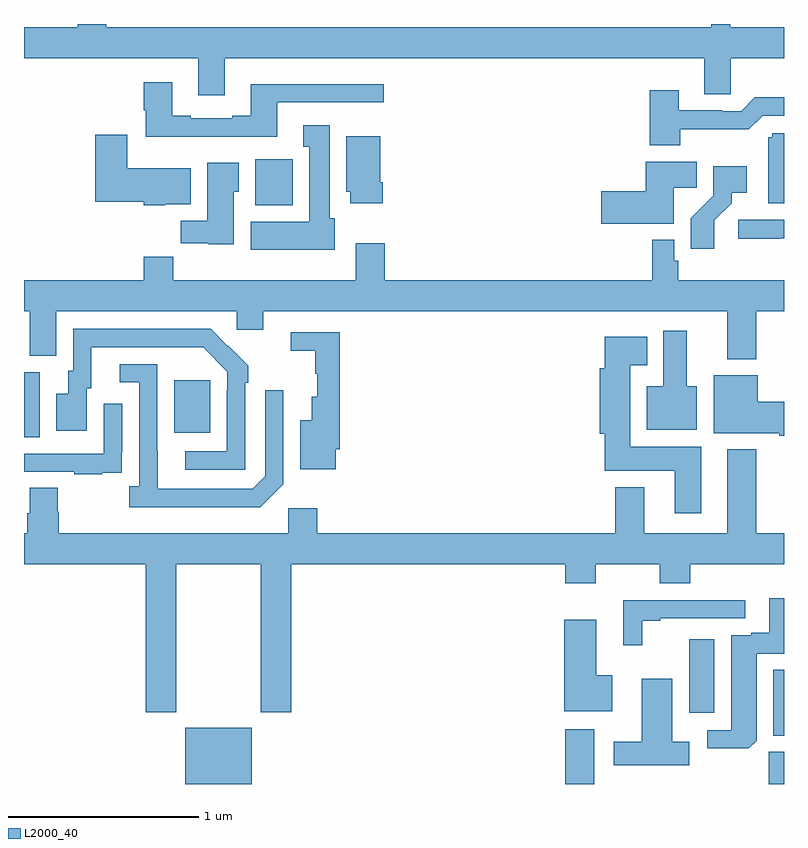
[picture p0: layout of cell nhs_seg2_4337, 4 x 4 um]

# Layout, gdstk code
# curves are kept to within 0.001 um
import gdstk
lib = gdstk.Library(unit=1e-6, precision=1e-09)
def R(c, l, rs):  # rectangles x0, y0, x1, y1
    for r in rs: c.add(gdstk.rectangle(r[:2], r[2:], *l))
def P(c, l, *ps):  # polygons
    for p in ps: c.add(gdstk.Polygon(p, *l))
L2000_40 = (2000, 40)

nhs_seg2_4337 = lib.new_cell('nhs_seg2_4337')
R(nhs_seg2_4337, L2000_40, [(345.848,659.8,346.198,660.097), (347.849,659.8,348.001,660.088), (348.919,659.8,349,659.97), (348.944,660.055,349,660.401), (348.5,660.174,348.634,660.562), (345,661.624,345.082,661.968), (345.791,661.649,345.979,661.924), (346.217,662.846,346.414,663.088)])
P(nhs_seg2_4337, L2000_40, [(348.716,663.8),(348.617,663.8),(348.617,663.784),(345.434,663.784),(345.434,663.8),(345.282,663.8),(345.282,663.784),(345,663.784),(345,663.62),(345.917,663.62),(345.917,663.426),(346.057,663.426),(346.057,663.62),(348.581,663.62),(348.581,663.43),(348.72,663.43),(348.72,663.62),(349,663.62),(349,663.784),(348.716,663.784)],
  [(346.333,663.387),(346.894,663.387),(346.894,663.484),(346.193,663.484),(346.193,663.316),(346.097,663.316),(346.097,663.303),(345.877,663.303),(345.877,663.316),(345.781,663.316),(345.781,663.493),(345.629,663.493),(345.629,663.345),(345.641,663.345),(345.641,663.206),(346.333,663.206)],
  [(348.453,663.246),(348.815,663.245),(348.888,663.318),(349,663.318),(349,663.415),(348.847,663.415),(348.774,663.342),(348.674,663.342),(348.674,663.345),(348.445,663.345),(348.445,663.451),(348.293,663.451),(348.293,663.161),(348.453,663.161)],
  [(346.636,662.778),(346.609,662.778),(346.609,663.268),(346.469,663.268),(346.469,663.155),(346.502,663.155),(346.502,662.758),(346.193,662.758),(346.193,662.612),(346.636,662.612)],
  [(349,663.225),(348.939,663.225),(348.939,663.204),(348.917,663.204),(348.917,662.856),(349,662.856)],
  [(345.744,662.852),(345.877,662.852),(345.877,663.04),(345.544,663.04),(345.544,663.217),(345.374,663.217),(345.374,662.864),(345.63,662.864),(345.63,662.846),(345.744,662.846)],
  [(346.889,662.968),(346.876,662.968),(346.876,663.208),(346.697,663.208),(346.697,662.916),(346.718,662.916),(346.718,662.856),(346.889,662.856)],
  [(348.421,662.938),(348.542,662.938),(348.542,663.076),(348.272,663.076),(348.272,662.921),(348.039,662.921),(348.039,662.75),(348.421,662.75)],
  [(346.105,662.916),(346.129,662.916),(346.129,663.07),(345.965,663.07),(345.965,662.764),(345.826,662.764),(345.826,662.646),(345.969,662.646),(345.969,662.642),(346.105,662.642)],
  [(348.634,662.767),(348.724,662.857),(348.724,662.912),(348.805,662.912),(348.805,663.052),(348.627,663.052),(348.627,662.897),(348.508,662.778),(348.508,662.616),(348.634,662.616)],
  [(348.983,662.673),(349,662.673),(349,662.769),(348.759,662.769),(348.759,662.671),(348.983,662.671)],
  [(348.854,662.288),(349,662.288),(349,662.452),(348.443,662.452),(348.443,662.553),(348.423,662.553),(348.423,662.665),(348.307,662.665),(348.307,662.452),(346.898,662.452),(346.898,662.647),(346.745,662.647),(346.745,662.452),(345.785,662.452),(345.785,662.576),(345.629,662.576),(345.629,662.452),(345,662.452),(345,662.288),(345.029,662.288),(345.029,662.053),(345.169,662.053),(345.169,662.288),(346.119,662.288),(346.119,662.19),(346.258,662.19),(346.258,662.288),(348.701,662.288),(348.701,662.036),(348.854,662.036)],
  [(346.164,661.913),(346.179,661.913),(346.179,662.001),(345.982,662.196),(345.258,662.196),(345.258,661.974),(345.233,661.974),(345.233,661.855),(345.17,661.855),(345.17,661.659),(345.331,661.659),(345.331,661.884),(345.355,661.884),(345.355,662.1),(345.943,662.1),(346.071,661.971),(346.071,661.871),(346.068,661.871),(346.068,661.551),(345.849,661.551),(345.849,661.455),(346.164,661.455)],
  [(348.541,661.894),(348.487,661.894),(348.487,662.185),(348.365,662.185),(348.365,661.894),(348.278,661.894),(348.278,661.664),(348.541,661.664)],
  [(346.642,661.561),(346.661,661.561),(346.661,662.178),(346.404,662.178),(346.404,662.08),(346.533,662.08),(346.533,661.959),(346.544,661.959),(346.544,661.837),(346.514,661.837),(346.514,661.714),(346.454,661.714),(346.454,661.457),(346.642,661.457)],
  [(348.565,661.576),(348.19,661.576),(348.19,662.003),(348.28,662.003),(348.28,662.155),(348.056,662.155),(348.056,661.987),(348.029,661.987),(348.029,661.643),(348.056,661.643),(348.056,661.448),(348.425,661.448),(348.425,661.224),(348.565,661.224)],
  [(346.365,661.377),(346.365,661.873),(346.269,661.873),(346.269,661.419),(346.203,661.353),(345.703,661.353),(345.702,662.01),(345.504,662.01),(345.504,661.914),(345.606,661.914),(345.606,661.366),(345.555,661.366),(345.555,661.256),(346.244,661.256)],
  [(349,661.812),(348.862,661.812),(348.862,661.951),(348.629,661.951),(348.629,661.646),(348.974,661.646),(348.974,661.634),(349,661.634)],
  [(345.413,661.437),(345.515,661.437),(345.515,661.546),(345.516,661.546),(345.516,661.801),(345.42,661.801),(345.42,661.539),(345,661.539),(345,661.443),(345.265,661.443),(345.265,661.431),(345.413,661.431)],
  [(345.801,660.956),(346.246,660.956),(346.246,660.177),(346.406,660.177),(346.406,660.956),(347.849,660.956),(347.849,660.857),(348.009,660.857),(348.009,660.956),(348.346,660.956),(348.346,660.857),(348.506,660.857),(348.506,660.956),(349,660.956),(349,661.12),(348.854,661.12),(348.854,661.561),(348.701,661.561),(348.701,661.12),(348.265,661.12),(348.265,661.363),(348.113,661.363),(348.113,661.12),(346.544,661.12),(346.544,661.252),(346.392,661.252),(346.392,661.12),(345.182,661.12),(345.182,661.233),(345.177,661.233),(345.177,661.358),(345.029,661.358),(345.029,661.226),(345.017,661.226),(345.017,661.12),(345,661.12),(345,660.956),(345.641,660.956),(345.641,660.177),(345.801,660.177)],
  [(348.856,660.028),(348.856,660.486),(349,660.486),(349,660.778),(348.923,660.778),(348.923,660.595),(348.827,660.595),(348.827,660.582),(348.722,660.582),(348.722,660.084),(348.597,660.084),(348.597,659.987),(348.815,659.987)],
  [(348.255,660.66),(348.349,660.66),(348.349,660.672),(348.796,660.672),(348.796,660.768),(348.155,660.768),(348.155,660.531),(348.255,660.531)],
  [(348.097,660.373),(348.013,660.373),(348.013,660.664),(347.843,660.664),(347.843,660.182),(348.097,660.182)],
  [(348.502,660.022),(348.412,660.022),(348.412,660.355),(348.251,660.355),(348.251,660.022),(348.105,660.022),(348.105,659.9),(348.502,659.9)])

lib.write_gds('nhs_seg2_4337.gds')
